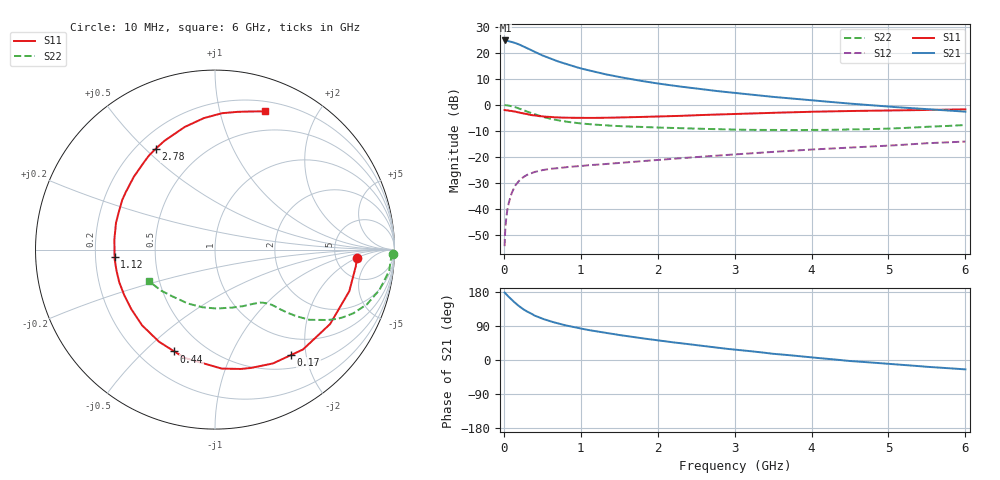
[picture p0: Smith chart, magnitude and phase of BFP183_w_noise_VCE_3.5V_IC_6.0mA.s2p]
! Infineon Technologies  Discrete & RF Semiconductors
! BFP183
! VCE = 3.5 V,  IC =  6.0 mA
! Common Emitter S-Parameters:  Jan 2016
# GHz  S  MA  R  50
!  f  S11  S21  S12  S22
! GHz  MAG  ANG  MAG  ANG  MAG  ANG  MAG  ANG
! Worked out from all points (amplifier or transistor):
!   210 points, 10 MHz to 6 GHz, reference 50 ohm
!   highest |S21| = 24.8 dB at 20 MHz (marker M1)
!   |S21| within 3 dB of that: start of sweep to 305.7 MHz
!   unconditionally stable (mu >= 1): 1.469 GHz to 5.712 GHz
!   at 185 MHz: K = 0.18, MSG = 26.6 dB, |S12| = -29.7 dB
!   at 1.52 GHz: K = 1.02, MAG = 15.7 dB, |S12| = -22.3 dB
!   at 6 GHz: K = 0.95, MSG = 5.8 dB, |S12| = -14.1 dB
!   lowest NFmin = 1.20 dB at 450 MHz
!   S11 on the Smith chart (normalised r, x): 10 MHz: 8.08, -2.03; 170 MHz: 0.70, -1.73; 440 MHz: 0.34, -0.62; 1.12 GHz: 0.28, -0.03; 2.78 GHz: 0.28, +0.54; 6 GHz: 0.30, +1.38
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0.01  0.7917 -3.4  17.2 178.0  0.0019 86.7  0.9921 -1.4
0.02  0.79 -6.8  17.34 176.1  0.0043 87.7  0.9821 -2.8
0.05  0.7833 -17.2  16.98 169.4  0.0103 84.5  0.9776 -7.0
0.1  0.7637 -32.9  16.3 159.4  0.0195 73.0  0.9434 -13.8
0.15  0.7416 -48.6  15.46 150.0  0.0282 66.0  0.8999 -19.8
0.17  0.7241 -54.2  15.03 146.8  0.0307 63.3  0.8787 -21.7
0.2  0.7116 -63.0  14.48 141.6  0.0346 59.9  0.8487 -24.7
0.24  0.6893 -73.0  13.58 135.8  0.0391 55.8  0.8061 -27.9
0.3  0.664 -86.8  12.39 128.2  0.0447 51.0  0.7422 -31.9
0.4  0.6265 -105.8  10.49 117.2  0.0509 44.4  0.6578 -36.5
0.44  0.6108 -111.8  9.852 114.2  0.0526 42.6  0.6312 -37.5
0.5  0.6007 -121.3  8.947 108.9  0.0553 40.1  0.5916 -39.1
0.7  0.5722 -144.6  6.878 96.5  0.0603 36.1  0.5034 -42.1
1.02  0.5607 -169.5  4.936 82.3  0.0668 33.3  0.4352 -44.6
1.12  0.5609 -176.0  4.546 78.4  0.069 33.2  0.4224 -45.5
1.5  0.5713 164.9  3.436 65.9  0.0761 33.9  0.3888 -49.3
2.02  0.5959 143.8  2.552 51.4  0.0871 34.5  0.3649 -56.6
2.78  0.6512 120.6  1.835 32.2  0.1052 34.0  0.3402 -71.3
3.1  0.6731 112.7  1.633 25.4  0.1135 33.3  0.3311 -78.6
4.1  0.7394 93.2  1.187 5.0  0.1402 29.2  0.3286 -105.1
5.1  0.7808 79.6  0.902 -11.6  0.1669 24.7  0.3529 -132.6
6  0.8185 70.2  0.739 -24.8  0.1962 17.6  0.4086 -154.7
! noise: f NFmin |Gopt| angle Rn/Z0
0.45  1.2  0.21  41  0.24
0.9  1.25  0.24  101  0.21
1.8  2  0.32  175  0.14
